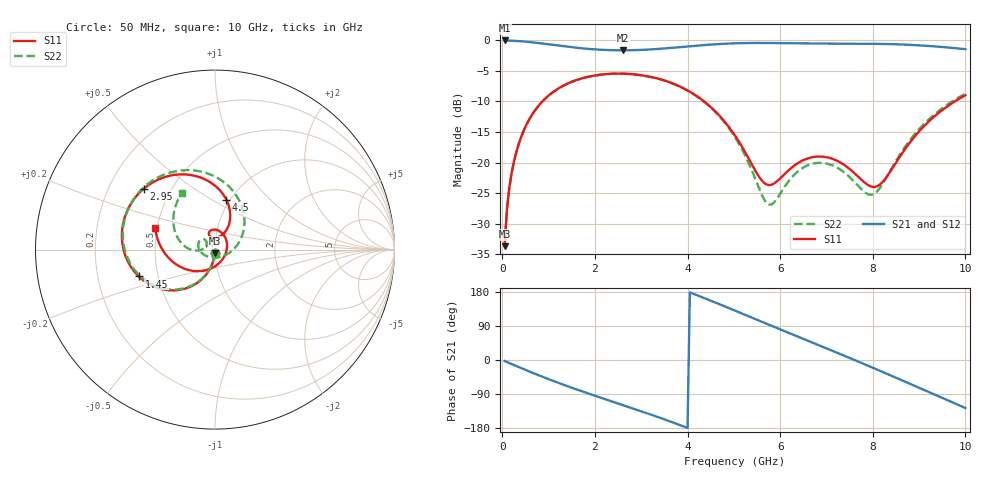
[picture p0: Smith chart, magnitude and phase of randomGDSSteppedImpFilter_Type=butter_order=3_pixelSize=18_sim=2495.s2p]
! freq	dB(S11)	phase(S11)	dB(S12)	phase(S12)
!  dB(S21)	phase(S21)	dB(S22)	phase(S22)
!S-par simulation data
#  GHz  S  DB  R 50
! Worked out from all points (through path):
!   200 points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, 50 MHz to 10 GHz, reference 50 ohm
!   highest |S21| = -0.01 dB at 50 MHz (marker M1); lowest = -1.6 dB at 2.6 GHz (marker M2)
!   group delay of S21, straight-line fit = 134 ps
!   lowest |S11| = -33.7 dB at 50 MHz (marker M3), VSWR 1.04, Z = 49.9 - j2.06 ohm
!   |S11| at or under -10 dB: start of sweep to 865.6 MHz; 4.359 GHz to 9.77 GHz (5.411 GHz wide, 76.6 % of centre)
!   |S22| runs from -33.7 to -5.4 dB; largest |S21 - S12| = 0
!   S11 on the Smith chart (normalised r, x): 50 MHz: 1.00, -0.04; 1.45 GHz: 0.39, -0.15; 2.95 GHz: 0.35, +0.33; 4.5 GHz: 0.96, +0.58; 10 GHz: 0.49, +0.14
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0.05  -33.70 -92.6  -0.01 -2.7  -0.01 -2.7  -33.70 -92.7
0.1  -27.69 -95.5  -0.02 -5.3  -0.02 -5.3  -27.70 -95.8
0.2  -21.78 -101.2  -0.05 -10.6  -0.05 -10.6  -21.81 -101.2
0.45  -14.99 -113.6  -0.17 -23.5  -0.17 -23.5  -15.01 -114.2
0.95  -9.37 -138.2  -0.59 -48.2  -0.59 -48.2  -9.38 -139.3
1.45  -6.94 -160.6  -1.07 -70.9  -1.07 -70.9  -6.94 -162.5
1.75  -6.15 -173.1  -1.32 -83.8  -1.32 -83.8  -6.16 -175.6
2.6  -5.45 153.0  -1.63 -118.7  -1.63 -118.7  -5.46 148.7
2.95  -5.65 139.3  -1.57 -133.1  -1.57 -133.1  -5.66 133.8
3.4  -6.34 121.3  -1.38 -152.2  -1.38 -152.2  -6.35 113.9
4  -8.18 96.9  -0.99 -179.3  -0.99 -179.3  -8.21 85.1
4.5  -10.90 77.1  -0.68 156.7  -0.68 156.7  -10.97 58.1
5.05  -15.87 61.0  -0.47 129.1  -0.47 129.1  -16.16 22.6
5.75  -23.69 90.2  -0.42 93.5  -0.42 93.5  -26.88 -80.2
6.2  -21.16 112.2  -0.47 70.8  -0.47 70.8  -22.90 -160.4
6.7  -19.12 100.0  -0.51 45.8  -0.51 45.8  -20.20 163.2
7.55  -21.37 45.6  -0.54 2.9  -0.54 2.9  -22.77 135.0
8  -23.99 -16.5  -0.55 -20.4  -0.55 -20.4  -25.23 159.3
8.35  -21.79 -76.5  -0.60 -38.7  -0.60 -38.7  -21.71 -178.2
9.15  -13.71 -150.2  -0.88 -81.3  -0.88 -81.3  -13.37 163.3
9.55  -11.13 -174.9  -1.11 -102.6  -1.11 -102.6  -10.83 143.9
10  -8.99 159.9  -1.44 -126.6  -1.44 -126.6  -8.73 120.0
